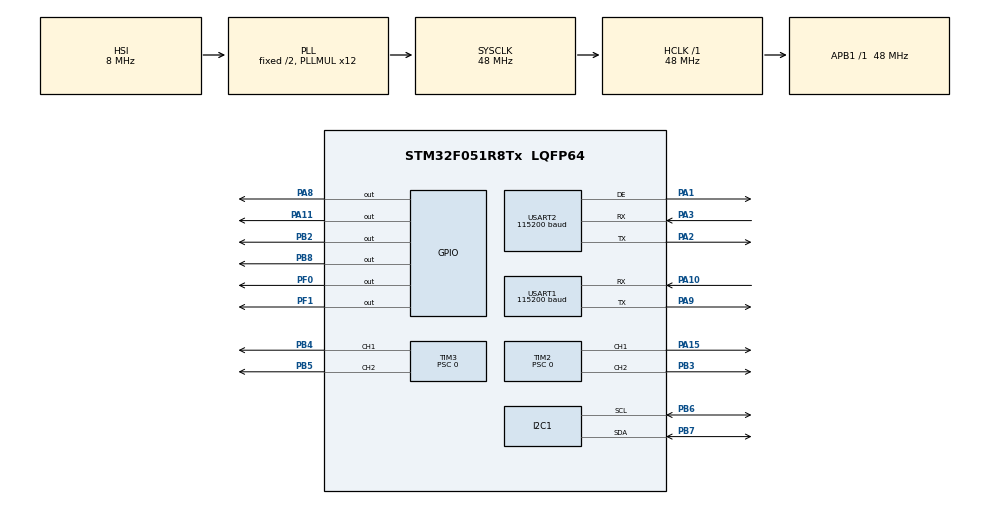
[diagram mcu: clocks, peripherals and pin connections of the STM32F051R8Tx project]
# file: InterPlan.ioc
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Dma.Request0=USART1_RX
Dma.Request1=USART1_TX
Dma.Request2=USART2_RX
Dma.Request3=USART2_TX
Dma.USART1_RX.0.Direction=DMA_PERIPH_TO_MEMORY
Dma.USART1_RX.0.Instance=DMA1_Channel3
Dma.USART1_RX.0.MemDataAlignment=DMA_MDATAALIGN_BYTE
Dma.USART1_RX.0.MemInc=DMA_MINC_ENABLE
Dma.USART1_RX.0.Mode=DMA_CIRCULAR
Dma.USART1_RX.0.PeriphDataAlignment=DMA_PDATAALIGN_BYTE
Dma.USART1_RX.0.PeriphInc=DMA_PINC_DISABLE
Dma.USART1_RX.0.Priority=DMA_PRIORITY_VERY_HIGH
Dma.USART1_TX.1.Direction=DMA_MEMORY_TO_PERIPH
Dma.USART1_TX.1.Instance=DMA1_Channel2
Dma.USART1_TX.1.MemDataAlignment=DMA_MDATAALIGN_BYTE
Dma.USART1_TX.1.MemInc=DMA_MINC_ENABLE
Dma.USART1_TX.1.Mode=DMA_NORMAL
Dma.USART1_TX.1.PeriphDataAlignment=DMA_PDATAALIGN_BYTE
Dma.USART1_TX.1.PeriphInc=DMA_PINC_DISABLE
Dma.USART1_TX.1.Priority=DMA_PRIORITY_HIGH
Dma.USART2_RX.2.Direction=DMA_PERIPH_TO_MEMORY
Dma.USART2_RX.2.Instance=DMA1_Channel5
Dma.USART2_RX.2.MemDataAlignment=DMA_MDATAALIGN_BYTE
Dma.USART2_RX.2.MemInc=DMA_MINC_ENABLE
Dma.USART2_RX.2.Mode=DMA_CIRCULAR
Dma.USART2_RX.2.PeriphDataAlignment=DMA_PDATAALIGN_BYTE
Dma.USART2_RX.2.PeriphInc=DMA_PINC_DISABLE
Dma.USART2_RX.2.Priority=DMA_PRIORITY_VERY_HIGH
Dma.USART2_TX.3.Direction=DMA_MEMORY_TO_PERIPH
Dma.USART2_TX.3.Instance=DMA1_Channel4
Dma.USART2_TX.3.MemDataAlignment=DMA_MDATAALIGN_BYTE
Dma.USART2_TX.3.MemInc=DMA_MINC_ENABLE
Dma.USART2_TX.3.Mode=DMA_NORMAL
Dma.USART2_TX.3.PeriphDataAlignment=DMA_PDATAALIGN_BYTE
Dma.USART2_TX.3.PeriphInc=DMA_PINC_DISABLE
Dma.USART2_TX.3.Priority=DMA_PRIORITY_HIGH
IWDG.Prescaler=IWDG_PRESCALER_128
IWDG.Reload=313
IWDG.Window=313
Mcu.Family=STM32F0
Mcu.Name=STM32F051R8Tx
Mcu.Package=LQFP64
NVIC.DMA1_Channel2_3_IRQn=true\:1\:0\:true\:true\:true\:1\:false
NVIC.DMA1_Channel4_5_IRQn=true\:1\:0\:true\:true\:true\:6\:false
NVIC.TIM14_IRQn=true\:1\:0\:true\:true\:true\:3\:true
NVIC.TIM16_IRQn=true\:2\:0\:true\:true\:true\:7\:true
NVIC.TIM1_BRK_UP_TRG_COM_IRQn=true\:1\:0\:true\:true\:true\:8\:true
NVIC.TIM2_IRQn=true\:0\:0\:false\:false\:true\:true
NVIC.TIM6_DAC_IRQn=true\:2\:0\:true\:true\:true\:2\:true
NVIC.USART1_IRQn=true\:0\:0\:true\:true\:true\:4\:true
NVIC.USART2_IRQn=true\:0\:0\:true\:true\:true\:5\:true
PA1.Mode=Hardware Flow Control (RS485)
PA1.Signal=USART2_DE
PA10.Mode=Asynchronous
PA10.Signal=USART1_RX
PA11.Signal=GPIO_Output
PA13.GPIO_Label=SWDIO
PA13.Mode=Serial_Wire
PA13.Signal=SYS_SWDIO
PA14.GPIO_Label=SWCLK
PA14.Mode=Serial_Wire
PA14.Signal=SYS_SWCLK
PA15.Signal=S_TIM2_CH1_ETR
PA2.Mode=Asynchronous
PA2.Signal=USART2_TX
PA3.Mode=Asynchronous
PA3.Signal=USART2_RX
PA8.Signal=GPIO_Output
PA9.Mode=Asynchronous
PA9.Signal=USART1_TX
PB2.Signal=GPIO_Output
PB3.Signal=S_TIM2_CH2
PB4.Signal=S_TIM3_CH1
PB5.Signal=S_TIM3_CH2
PB6.Mode=I2C
PB6.Signal=I2C1_SCL
PB7.Mode=I2C
PB7.Signal=I2C1_SDA
PB8.Signal=GPIO_Output
PF0-OSC_IN.Signal=GPIO_Output
PF1-OSC_OUT.Signal=GPIO_Output
ProjectManager.HeapSize=0x200
ProjectManager.StackSize=0x400
ProjectManager.TargetToolchain=TrueSTUDIO
RCC.AHBFreq_Value=48000000
RCC.APB1Freq_Value=48000000
RCC.APB1TimFreq_Value=48000000
RCC.HCLKFreq_Value=48000000
RCC.PLLMUL=RCC_PLL_MUL12
RCC.SYSCLKFreq_VALUE=48000000
RCC.SYSCLKSource=RCC_SYSCLKSOURCE_PLLCLK
SH.S_TIM2_CH1_ETR.0=TIM2_CH1,PWM Generation1 CH1
SH.S_TIM2_CH2.0=TIM2_CH2,PWM Generation2 CH2
SH.S_TIM3_CH1.0=TIM3_CH1,PWM Generation1 CH1
SH.S_TIM3_CH2.0=TIM3_CH2,PWM Generation2 CH2
TIM1.Prescaler=4
TIM1.TIM_MasterOutputTrigger=TIM_TRGO_ENABLE
TIM1.TIM_MasterSlaveMode=TIM_MASTERSLAVEMODE_ENABLE
TIM14.Period=1199
TIM14.Prescaler=19999
TIM16.Period=1
TIM16.Prescaler=42001
TIM2.Channel-PWM\ Generation1\ CH1=TIM_CHANNEL_1
TIM2.Channel-PWM\ Generation2\ CH2=TIM_CHANNEL_2
TIM2.OCPolarity_1=TIM_OCPOLARITY_LOW
TIM2.OCPolarity_2=TIM_OCPOLARITY_LOW
TIM2.Period=0
TIM2.Prescaler=0
TIM2.Pulse-PWM\ Generation1\ CH1=0
TIM2.Pulse-PWM\ Generation2\ CH2=0
TIM2.TIM_MasterOutputTrigger=TIM_TRGO_UPDATE
TIM2.TIM_MasterSlaveMode=TIM_MASTERSLAVEMODE_ENABLE
TIM3.Channel-PWM\ Generation1\ CH1=TIM_CHANNEL_1
TIM3.Channel-PWM\ Generation2\ CH2=TIM_CHANNEL_2
TIM3.OCPolarity_1=TIM_OCPOLARITY_LOW
TIM3.OCPolarity_2=TIM_OCPOLARITY_LOW
TIM3.Period=0
TIM3.Prescaler=0
TIM3.Pulse-PWM\ Generation1\ CH1=0
TIM3.Pulse-PWM\ Generation2\ CH2=0
TIM3.TIM_MasterOutputTrigger=TIM_TRGO_UPDATE
TIM3.TIM_MasterSlaveMode=TIM_MASTERSLAVEMODE_ENABLE
TIM6.Period=1
TIM6.Prescaler=42001
TIM6.TIM_MasterOutputTrigger=TIM_TRGO_UPDATE
USART1.BaudRate=115200
USART1.VirtualMode-Asynchronous=VM_ASYNC
USART1.WordLength=WORDLENGTH_8B
USART2.BaudRate=115200
USART2.UART_DEPolarity=UART_DE_POLARITY_HIGH
USART2.VirtualMode-Asynchronous=VM_ASYNC
USART2.VirtualMode-Hardware\ Flow\ Control\ (RS485)=VM_ASYNC
VP_IWDG_VS_IWDG.Mode=IWDG_Activate
VP_TIM14_VS_ClockSourceINT.Mode=Enable_Timer
VP_TIM16_VS_ClockSourceINT.Mode=Enable_Timer
VP_TIM16_VS_OPM.Mode=OPM_bit
VP_TIM1_VS_ClockSourceITR.Mode=TriggerSource_ITR1
VP_TIM1_VS_ControllerModeClock.Mode=Clock Mode
VP_TIM1_VS_OPM.Mode=OPM_bit
VP_TIM6_VS_ClockSourceINT.Mode=Enable_Timer
VP_TIM6_VS_OPM.Mode=OPM_bit
board=STM32F0DISCOVERY

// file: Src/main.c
/**
  ******************************************************************************
  * @file           : main.c
  * @brief          : Main program body
  ******************************************************************************
  ** This notice applies to any and all portions of this file
  * that are not between comment pairs USER CODE BEGIN and
  * USER CODE END. Other portions of this file, whether
  * inserted by the user or by software development tools
  * are owned by their respective copyright owners.
  *
  * COPYRIGHT(c) 2018 STMicroelectronics
  *
  * Redistribution and use in source and binary forms, with or without modification,
  * are permitted provided that the following conditions are met:
  *   1. Redistributions of source code must retain the above copyright notice,
  *      this list of conditions and the following disclaimer.
  *   2. Redistributions in binary form must reproduce the above copyright notice,
  *      this list of conditions and the following disclaimer in the documentation
  *      and/or other materials provided with the distribution.
  *   3. Neither the name of STMicroelectronics nor the names of its contributors
  *      may be used to endorse or promote products derived from this software
  *      without specific prior written permission.
  *
  * THIS SOFTWARE IS PROVIDED BY THE COPYRIGHT HOLDERS AND CONTRIBUTORS "AS IS"
  * AND ANY EXPRESS OR IMPLIED WARRANTIES, INCLUDING, BUT NOT LIMITED TO, THE
  * IMPLIED WARRANTIES OF MERCHANTABILITY AND FITNESS FOR A PARTICULAR PURPOSE ARE
  * DISCLAIMED. IN NO EVENT SHALL THE COPYRIGHT HOLDER OR CONTRIBUTORS BE LIABLE
  * FOR ANY DIRECT, INDIRECT, INCIDENTAL, SPECIAL, EXEMPLARY, OR CONSEQUENTIAL
  * DAMAGES (INCLUDING, BUT NOT LIMITED TO, PROCUREMENT OF SUBSTITUTE GOODS OR
  * SERVICES; LOSS OF USE, DATA, OR PROFITS; OR BUSINESS INTERRUPTION) HOWEVER
  * CAUSED AND ON ANY THEORY OF LIABILITY, WHETHER IN CONTRACT, STRICT LIABILITY,
  * OR TORT (INCLUDING NEGLIGENCE OR OTHERWISE) ARISING IN ANY WAY OUT OF THE USE
  * OF THIS SOFTWARE, EVEN IF ADVISED OF THE POSSIBILITY OF SUCH DAMAGE.
  *
  ******************************************************************************
  */
#include "main.h"
#include "stm32f0xx_hal.h"
#include "dma.h"
#include "i2c.h"
#include "iwdg.h"
#include "tim.h"
#include "usart.h"
#include "gpio.h"

/* USER CODE BEGIN Includes */
#include "commands.h"
/* USER CODE END Includes */

/* USER CODE BEGIN PV */

static uint8_t m_USART1dmaRxBuffer[USART_RX_BUFFER_LENGTH],
			   m_USART1RxBuffer[MAX_MESSAGE_SIZE],
			   m_USART1TxBuffer[MAX_MESSAGE_SIZE],
			   m_USART1RxBufferLength = 0,

			   m_USART2dmaRxBuffer[USART_RX_BUFFER_LENGTH],
			   m_USART2RxBuffer[MAX_MESSAGE_SIZE],
			   m_USART2TxBuffer[MAX_MESSAGE_SIZE],
			   m_USART2RxBufferLength = 0;

enum _RXOverflow {
	NORMAL = 0,
	OVERFLOW = 1
} m_USART1Overflow = NORMAL,
  m_USART2Overflow = NORMAL;

/* Private variables ---------------------------------------------------------*/
#if defined   (  __GNUC__  )
__IO uint32_t VectorTable[48] __attribute__((section(".RAMVectorTable")));
#endif
/* USER CODE END PV */

void SystemClock_Config(void);
static void MX_NVIC_Init(void);

/* USER CODE BEGIN PFP */

/* Private function prototypes -----------------------------------------------*/

/* USER CODE END PFP */

/* USER CODE BEGIN 0 */

void HAL_UART_RxHalfCpltCallback(UART_HandleTypeDef *huart) {
	if (huart->Instance == USART1) {
		if (!m_USART1RxBufferLength)
			__HAL_TIM_ENABLE(&htim6);

		__HAL_TIM_SET_COUNTER(&htim6, 0);
		m_USART1RxBuffer[m_USART1RxBufferLength++] = m_USART1dmaRxBuffer[0];

		if(m_USART1RxBufferLength == MAX_MESSAGE_SIZE) {
			m_USART1Overflow = OVERFLOW;
			m_USART1RxBufferLength = 0;
			return;
		}

		return;
	}

	if (huart->Instance == USART2) {
		if (!m_USART2RxBufferLength)
			__HAL_TIM_ENABLE(&htim16);

		__HAL_TIM_SET_COUNTER(&htim16, 0);
		m_USART2RxBuffer[m_USART2RxBufferLength++] = m_USART2dmaRxBuffer[0];

		if(m_USART2RxBufferLength == MAX_MESSAGE_SIZE) {
			m_USART2Overflow = OVERFLOW;
			m_USART2RxBufferLength = 0;
			return;
		}

		return;
	}
}

void HAL_UART_RxCpltCallback(UART_HandleTypeDef *huart) {
	if (huart->Instance == USART1) {
		if (!m_USART1RxBufferLength)
			__HAL_TIM_ENABLE(&htim6);

		__HAL_TIM_SET_COUNTER(&htim6, 0);
		m_USART1RxBuffer[m_USART1RxBufferLength++] = m_USART1dmaRxBuffer[1];

		if(m_USART1RxBufferLength == MAX_MESSAGE_SIZE) {
			m_USART1Overflow = OVERFLOW;
			m_USART1RxBufferLength = 0;
			return;
		}

		return;
	}

	if (huart->Instance == USART2) {
		if (!m_USART2RxBufferLength)
			__HAL_TIM_ENABLE(&htim16);

		__HAL_TIM_SET_COUNTER(&htim16, 0);
		m_USART2RxBuffer[m_USART2RxBufferLength++] = m_USART2dmaRxBuffer[1];

		if(m_USART2RxBufferLength == MAX_MESSAGE_SIZE) {
			m_USART2Overflow = OVERFLOW;
			m_USART2RxBufferLength = 0;
			return;
		}

		return;
	}
}

void HAL_GPIO_EXTI_Callback(uint16_t pin) {
	if (pin == TIM1BCS->TerminalGPIO->Pin) {
		__HAL_TIM_DISABLE(TIM1BCS->PWMTIM->ComplementTIM);
		HAL_GPIO_WritePin(TIM1BCS->DisableGPIO->GPIO, TIM1BCS->DisableGPIO->Pin,
				GPIO_PIN_RESET);
		__HAL_TIM_SET_COUNTER(TIM1BCS->PWMTIM->ComplementTIM, 0);
	}
}

void HAL_TIM_PeriodElapsedCallback(TIM_HandleTypeDef* htim) {
	if (htim->Instance == TIM14) {
		__HAL_IWDG_RELOAD_COUNTER(&hiwdg);
		return;
	}

	if (htim->Instance == TIM6) {
		if(m_USART1Overflow == OVERFLOW) {
			m_USART1RxBufferLength = 0;
			m_USART1Overflow = NORMAL;
			return;
		}

		uint8_t resultLength;

		if (ProcessCommand(m_USART1RxBuffer, m_USART1RxBufferLength, m_USART1TxBuffer,
				&resultLength)) {
			m_USART1RxBufferLength = 0;
			return;
		}

		HAL_UART_Transmit_DMA(&huart1, m_USART1TxBuffer, resultLength);
		m_USART1RxBufferLength = 0;
		return;
	}

	if (htim->Instance == TIM16) {
		if(m_USART2Overflow == OVERFLOW) {
			m_USART2RxBufferLength = 0;
			m_USART2Overflow = NORMAL;
			return;
		}

		uint8_t resultLength;

		if (ProcessCommand(m_USART2RxBuffer, m_USART2RxBufferLength, m_USART2TxBuffer,
				&resultLength)) {
			m_USART2RxBufferLength = 0;
			return;
		}

		HAL_UART_Transmit_DMA(&huart2, m_USART2TxBuffer, resultLength);
		m_USART2RxBufferLength = 0;
		return;
	}

	if (htim->Instance == TIM1) {
		HAL_GPIO_WritePin(TIM1BCS->DisableGPIO->GPIO, TIM1BCS->DisableGPIO->Pin,
				GPIO_PIN_RESET);
		return;
	}
}
/* USER CODE END 0 */

int main(void)
{

  /* MCU Configuration----------------------------------------------------------*/

  /* Reset of all peripherals, Initializes the Flash interface and the Systick. */
  HAL_Init();

  /* Configure the system clock */
  SystemClock_Config();

  /* USER CODE BEGIN SysInit */
  for(uint8_t i = 0; i < 48; i++)
  {
    VectorTable[i] = *(__IO uint32_t *)(0x8003000 + (i << 2));
  }

  __HAL_RCC_SYSCFG_CLK_ENABLE();
  __HAL_SYSCFG_REMAPMEMORY_SRAM();

  /* USER CODE END SysInit */

  /* Initialize all configured peripherals */
  MX_GPIO_Init();
  MX_DMA_Init();
  MX_USART1_UART_Init();
  MX_TIM6_Init();
  MX_TIM3_Init();
  MX_TIM2_Init();
  MX_I2C1_Init();
  MX_USART2_UART_Init();
  MX_TIM1_Init();
  MX_TIM14_Init();
  MX_IWDG_Init();
  MX_TIM16_Init();

  /* Initialize interrupts */
  MX_NVIC_Init();
  /* USER CODE BEGIN 2 */
  LoadUARTBaud();
  LoadMS5837OSR();
  InitializeCommands();
  SetDeviceConfiguration();

  __HAL_TIM_CLEAR_FLAG(&htim6, TIM_FLAG_UPDATE);
  __HAL_TIM_ENABLE_IT(&htim6, TIM_IT_UPDATE);

  __HAL_TIM_CLEAR_FLAG(&htim16, TIM_FLAG_UPDATE);
  __HAL_TIM_ENABLE_IT(&htim16, TIM_IT_UPDATE);

  __HAL_TIM_CLEAR_FLAG(&htim1, TIM_FLAG_UPDATE);
  __HAL_TIM_ENABLE_IT(&htim1, TIM_IT_UPDATE);

  __HAL_TIM_CLEAR_FLAG(&htim14, TIM_FLAG_UPDATE);
  __HAL_TIM_ENABLE_IT(&htim14, TIM_IT_UPDATE);
  __HAL_TIM_ENABLE(&htim14);

  HAL_TIM_PWM_Start(&htim2, TIM_CHANNEL_1);
  HAL_TIM_PWM_Start(&htim2, TIM_CHANNEL_2);
  HAL_TIM_PWM_Start(&htim3, TIM_CHANNEL_1);
  HAL_TIM_PWM_Start(&htim3, TIM_CHANNEL_2);

  HAL_UART_Receive_DMA(&huart1, (uint8_t *) m_USART1dmaRxBuffer, 2);
  HAL_UART_Receive_DMA(&huart2, (uint8_t *) m_USART2dmaRxBuffer, 2);

  /* USER CODE END 2 */

  /* Infinite loop */
  while (1) {

  }

}

void SystemClock_Config(void)
{

  RCC_OscInitTypeDef RCC_OscInitStruct;
  RCC_ClkInitTypeDef RCC_ClkInitStruct;
  RCC_PeriphCLKInitTypeDef PeriphClkInit;

    /**Initializes the CPU, AHB and APB busses clocks
    */
  RCC_OscInitStruct.OscillatorType = RCC_OSCILLATORTYPE_HSI|RCC_OSCILLATORTYPE_LSI;
  RCC_OscInitStruct.HSIState = RCC_HSI_ON;
  RCC_OscInitStruct.HSICalibrationValue = 16;
  RCC_OscInitStruct.LSIState = RCC_LSI_ON;
  RCC_OscInitStruct.PLL.PLLState = RCC_PLL_ON;
  RCC_OscInitStruct.PLL.PLLSource = RCC_PLLSOURCE_HSI;
  RCC_OscInitStruct.PLL.PLLMUL = RCC_PLL_MUL12;
  RCC_OscInitStruct.PLL.PREDIV = RCC_PREDIV_DIV1;
  if (HAL_RCC_OscConfig(&RCC_OscInitStruct) != HAL_OK)
  {
    _Error_Handler(__FILE__, __LINE__);
  }

    /**Initializes the CPU, AHB and APB busses clocks
    */
  RCC_ClkInitStruct.ClockType = RCC_CLOCKTYPE_HCLK|RCC_CLOCKTYPE_SYSCLK
                              |RCC_CLOCKTYPE_PCLK1;
  RCC_ClkInitStruct.SYSCLKSource = RCC_SYSCLKSOURCE_PLLCLK;
  RCC_ClkInitStruct.AHBCLKDivider = RCC_SYSCLK_DIV1;
  RCC_ClkInitStruct.APB1CLKDivider = RCC_HCLK_DIV1;

  if (HAL_RCC_ClockConfig(&RCC_ClkInitStruct, FLASH_LATENCY_1) != HAL_OK)
  {
    _Error_Handler(__FILE__, __LINE__);
  }

  PeriphClkInit.PeriphClockSelection = RCC_PERIPHCLK_USART1|RCC_PERIPHCLK_I2C1;
  PeriphClkInit.Usart1ClockSelection = RCC_USART1CLKSOURCE_PCLK1;
  PeriphClkInit.I2c1ClockSelection = RCC_I2C1CLKSOURCE_HSI;
  if (HAL_RCCEx_PeriphCLKConfig(&PeriphClkInit) != HAL_OK)
  {
    _Error_Handler(__FILE__, __LINE__);
  }

    /**Configure the Systick interrupt time
    */
  HAL_SYSTICK_Config(HAL_RCC_GetHCLKFreq()/1000);

    /**Configure the Systick
    */
  HAL_SYSTICK_CLKSourceConfig(SYSTICK_CLKSOURCE_HCLK);

  /* SysTick_IRQn interrupt configuration */
  HAL_NVIC_SetPriority(SysTick_IRQn, 0, 0);
}

/**
  * @brief NVIC Configuration.
  * @retval None
  */
static void MX_NVIC_Init(void)
{
  /* DMA1_Channel2_3_IRQn interrupt configuration */
  HAL_NVIC_SetPriority(DMA1_Channel2_3_IRQn, 1, 0);
  HAL_NVIC_EnableIRQ(DMA1_Channel2_3_IRQn);
  /* TIM6_DAC_IRQn interrupt configuration */
  HAL_NVIC_SetPriority(TIM6_DAC_IRQn, 2, 0);
  HAL_NVIC_EnableIRQ(TIM6_DAC_IRQn);
  /* TIM14_IRQn interrupt configuration */
  HAL_NVIC_SetPriority(TIM14_IRQn, 1, 0);
  HAL_NVIC_EnableIRQ(TIM14_IRQn);
  /* USART1_IRQn interrupt configuration */
  HAL_NVIC_SetPriority(USART1_IRQn, 0, 0);
  HAL_NVIC_EnableIRQ(USART1_IRQn);
  /* USART2_IRQn interrupt configuration */
  HAL_NVIC_SetPriority(USART2_IRQn, 0, 0);
  HAL_NVIC_EnableIRQ(USART2_IRQn);
  /* DMA1_Channel4_5_IRQn interrupt configuration */
  HAL_NVIC_SetPriority(DMA1_Channel4_5_IRQn, 1, 0);
  HAL_NVIC_EnableIRQ(DMA1_Channel4_5_IRQn);
  /* TIM16_IRQn interrupt configuration */
  HAL_NVIC_SetPriority(TIM16_IRQn, 2, 0);
  HAL_NVIC_EnableIRQ(TIM16_IRQn);
  /* TIM1_BRK_UP_TRG_COM_IRQn interrupt configuration */
  HAL_NVIC_SetPriority(TIM1_BRK_UP_TRG_COM_IRQn, 1, 0);
  HAL_NVIC_EnableIRQ(TIM1_BRK_UP_TRG_COM_IRQn);
}

void _Error_Handler(char *file, int line)
{
	while (1) {
	}
}

/************************ (C) COPYRIGHT STMicroelectronics *****END OF FILE****/
